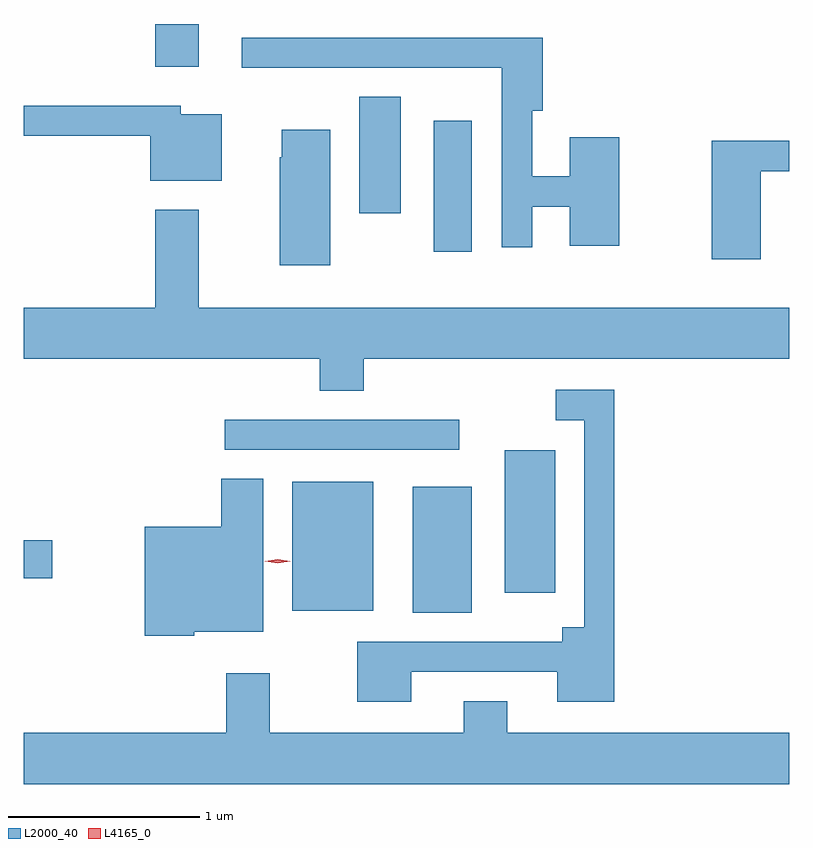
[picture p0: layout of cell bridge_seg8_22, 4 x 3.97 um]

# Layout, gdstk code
import gdstk
lib = gdstk.Library(unit=1e-6, precision=1e-09)
def R(c, l, rs):  # rectangles x0, y0, x1, y1
    for r in rs: c.add(gdstk.rectangle(r[:2], r[2:], *l))
def P(c, l, *ps):  # polygons
    for p in ps: c.add(gdstk.Polygon(p, *l))
L2000_40 = (2000, 40)
L4165_0 = (4165, 0)

bridge_seg8_22 = lib.new_cell('bridge_seg8_22')
R(bridge_seg8_22, L2000_40, [(1778.066,1879.491,1778.374,1880.149), (1777.436,1879.501,1777.859,1880.174), (1778.546,1879.596,1778.809,1880.339), (1776.033,1879.671,1776.184,1879.869), (1777.083,1880.341,1778.308,1880.499), (1778.176,1881.376,1778.374,1882.059), (1777.786,1881.576,1778.004,1882.184), (1776.721,1882.341,1776.949,1882.565)])
P(bridge_seg8_22, L2000_40, [(1778.689,1881.611),(1778.886,1881.611),(1778.886,1881.406),(1779.144,1881.406),(1779.144,1881.974),(1778.886,1881.974),(1778.886,1881.769),(1778.689,1881.769),(1778.689,1882.111),(1778.744,1882.111),(1778.744,1882.494),(1777.173,1882.494),(1777.173,1882.336),(1778.531,1882.336),(1778.531,1881.398),(1778.689,1881.398)],
  [(1777.069,1882.094),(1776.854,1882.094),(1776.854,1882.139),(1776.033,1882.139),(1776.033,1881.981),(1776.696,1881.981),(1776.696,1881.746),(1777.069,1881.746)],
  [(1777.634,1882.014),(1777.381,1882.014),(1777.381,1881.87),(1777.371,1881.87),(1777.371,1881.306),(1777.634,1881.306)],
  [(1779.884,1881.796),(1780.033,1881.796),(1780.033,1881.954),(1779.626,1881.954),(1779.626,1881.336),(1779.884,1881.336)],
  [(1777.809,1880.816),(1780.033,1880.816),(1780.033,1881.084),(1776.949,1881.084),(1776.949,1881.594),(1776.721,1881.594),(1776.721,1881.084),(1776.033,1881.084),(1776.033,1880.816),(1777.581,1880.816),(1777.581,1880.651),(1777.809,1880.651)],
  [(1778.059,1879.181),(1778.821,1879.181),(1778.821,1879.026),(1779.119,1879.026),(1779.119,1880.654),(1778.813,1880.654),(1778.813,1880.496),(1778.961,1880.496),(1778.961,1879.414),(1778.846,1879.414),(1778.846,1879.339),(1777.776,1879.339),(1777.776,1879.026),(1778.059,1879.026)],
  [(1776.924,1879.391),(1777.284,1879.391),(1777.284,1880.189),(1777.066,1880.189),(1777.066,1879.939),(1776.666,1879.939),(1776.666,1879.371),(1776.924,1879.371)],
  [(1780.033,1878.864),(1778.559,1878.864),(1778.559,1879.029),(1778.331,1879.029),(1778.331,1878.864),(1777.319,1878.864),(1777.319,1879.174),(1777.091,1879.174),(1777.091,1878.864),(1776.033,1878.864),(1776.033,1878.596),(1780.033,1878.596)])
P(bridge_seg8_22, L4165_0, [(1777.36,1879.75),(1777.294,1879.758),(1777.294,1879.759),(1777.294,1879.759),(1777.36,1879.769),(1777.426,1879.76),(1777.426,1879.76),(1777.426,1879.76)])

lib.write_gds('bridge_seg8_22.gds')
